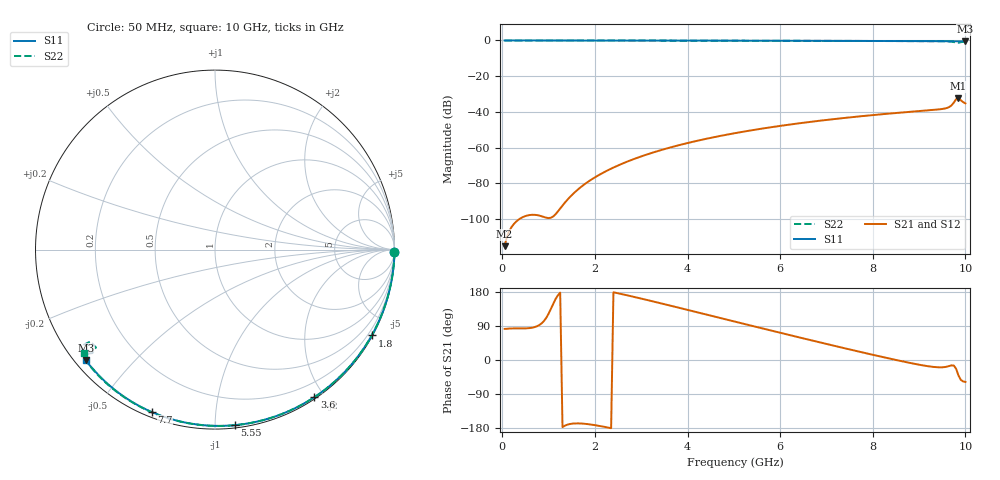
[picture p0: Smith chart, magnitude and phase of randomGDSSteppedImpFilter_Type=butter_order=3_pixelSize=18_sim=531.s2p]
! freq	dB(S11)	phase(S11)	dB(S12)	phase(S12)
!  dB(S21)	phase(S21)	dB(S22)	phase(S22)
!S-par simulation data
#  GHz  S  DB  R 50
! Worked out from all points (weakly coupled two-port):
!   200 points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, 50 MHz to 10 GHz, reference 50 ohm
!   highest |S21| = -32.37 dB at 9.85 GHz (marker M1); lowest = -115.3 dB at 50 MHz (marker M2)
!   lowest |S11| = -0.5 dB at 10 GHz (marker M3), VSWR 37.37, Z = 1.52 - j18.5 ohm
!   |S11| at or under -10 dB: nowhere
!   |S22| runs from -1.3 to 0.0 dB; largest |S21 - S12| = 0
!   S11 on the Smith chart (normalised r, x): 50 MHz: open; 1.8 GHz: 0.03, -3.91; 3.6 GHz: 0.02, -1.88; 5.55 GHz: 0.02, -1.12; 7.7 GHz: 0.02, -0.68; 10 GHz: 0.03, -0.37
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0.05  -0.00 -0.8  -115.28 82.1  -115.28 82.1  -0.00 -0.8
0.9  -0.02 -14.5  -98.93 103.0  -98.93 103.0  -0.02 -15.0
1.75  -0.04 -27.9  -81.08 -168.0  -81.08 -168.0  -0.04 -28.8
1.8  -0.04 -28.7  -80.13 -168.6  -80.13 -168.6  -0.04 -29.6
2.15  -0.04 -34.1  -74.49 -175.1  -74.49 -175.1  -0.05 -35.3
2.5  -0.05 -39.5  -70.05 176.1  -70.05 176.1  -0.05 -40.8
2.9  -0.06 -45.6  -65.90 165.0  -65.90 165.0  -0.06 -47.1
3.4  -0.07 -53.1  -61.64 150.3  -61.64 150.3  -0.07 -54.8
3.6  -0.08 -56.0  -60.16 144.3  -60.16 144.3  -0.08 -57.8
4.3  -0.09 -66.1  -55.69 123.2  -55.69 123.2  -0.10 -68.3
5.05  -0.12 -76.7  -51.82 100.4  -51.82 100.4  -0.12 -79.1
5.55  -0.14 -83.5  -49.64 85.4  -49.64 85.4  -0.14 -86.1
6.7  -0.19 -98.6  -45.47 51.1  -45.47 51.1  -0.20 -101.8
7.7  -0.25 -111.3  -42.58 22.2  -42.58 22.2  -0.26 -115.0
8.35  -0.31 -119.4  -40.99 4.1  -40.99 4.1  -0.32 -123.4
9.55  -0.42 -134.0  -38.18 -18.7  -38.18 -18.7  -0.49 -139.8
9.65  -0.43 -135.2  -37.31 -16.0  -37.31 -16.0  -0.57 -141.8
9.7  -0.44 -135.7  -36.40 -14.2  -36.40 -14.2  -0.67 -143.0
9.8  -0.44 -136.9  -32.90 -23.3  -32.90 -23.3  -1.28 -143.6
9.85  -0.44 -137.6  -32.37 -40.6  -32.37 -40.6  -1.32 -140.6
9.9  -0.45 -138.2  -33.45 -52.3  -33.45 -52.3  -0.97 -139.8
10  -0.46 -139.4  -35.26 -57.9  -35.26 -57.9  -0.66 -141.8
